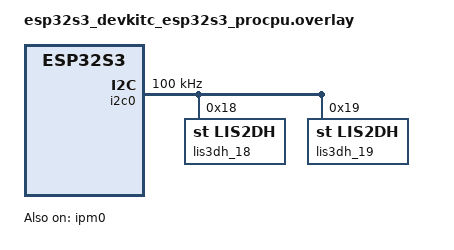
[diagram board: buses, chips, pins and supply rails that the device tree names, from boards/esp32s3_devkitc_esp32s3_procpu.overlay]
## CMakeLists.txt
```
cmake_minimum_required(VERSION 3.20.0)

find_package(Zephyr REQUIRED HINTS $ENV{ZEPHYR_BASE})
project(hw664_lis3dh_procpu)

target_sources(app PRIVATE
	src/main.c
	src/sensor_hub.c
)
```

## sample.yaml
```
sample:
  name: HW-664 (actually LIS3DH) dual-core (IPM, threshold+heartbeat) with SSD1306 on core1
  description: >
    core0 (procpu) reads the accelerometer's 3-axis acceleration every
    100 ms in one thread over I2C0, using Zephyr's standard sensor API
    (the board's WHO_AM_I confirmed this HW-664 module actually carries
    an ST LIS3DH, not the LIS3DSH its listing claims - Zephyr supports
    LIS3DH via the LIS2DH driver family). It pushes an IPM message to
    core1 immediately whenever the accel vector magnitude moves past a
    threshold since the last value actually sent (>=0.15g), plus a 1 s
    heartbeat so the link never looks stale while the board is still.
    core1 owns I2C1 and an SSD1306 128x64 OLED exclusively, displays all
    3 axes plus link health, redraws from an event-driven display
    thread woken by the IPM callback, and declares the link down after
    2 s without a message. Built with --sysbuild.
tests:
  sample.sensor.hw664_lis3dh_dualcore:
    build_only: true
    sysbuild: true
    platform_allow: esp32s3_devkitc/esp32s3/procpu
    tags: sensor display i2c threads ipm multicore
```

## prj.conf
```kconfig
# 03_HW664_LIS3DH - core0 (procpu) image
#
# CHIP IDENTITY CORRECTION (2026-09-04): confirmed via WHO_AM_I=0x33 on
# real hardware that this board is an ST LIS3DH, not a genuine LIS3DSH.
# Zephyr officially supports LIS3DH via the LIS2DH driver family
# (Kconfig symbol CONFIG_LIS2DH) - so this now uses the standard sensor
# subsystem instead of a hand-rolled raw-I2C driver. NOTE: despite the
# chip being LIS3DH, the devicetree compatible must be "st,lis2dh", not
# the documented-but-non-functional "st,lis3dh" - see the overlay's
# header comment and the troubleshooting doc for why.

CONFIG_I2C=y
CONFIG_GPIO=y

CONFIG_SENSOR=y
CONFIG_LIS2DH=y

# Inter-core mailbox to core1 (appcpu). Symbol confirmed in Lab 01
# against drivers/ipm/Kconfig upstream: it's ESP32_SOFT_IPM, not
# IPM_ESP32.
CONFIG_IPM=y
CONFIG_ESP32_SOFT_IPM=y

CONFIG_LOG=y
CONFIG_LOG_MODE_IMMEDIATE=y

# Accel-to-g conversion and vector magnitude math use floating point;
# ESP32-S3 has a hardware FPU.
CONFIG_FPU=y
```

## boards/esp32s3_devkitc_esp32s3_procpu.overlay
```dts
/*
 * Overlay for 03_HW664_LIS3DH - core0 (procpu) image
 *
 * CHIP IDENTITY CORRECTION (2026-09-04): the HW-664 module's silkscreen/
 * listing claims LIS3DSH, but WHO_AM_I read back 0x33 on real hardware,
 * not LIS3DSH's fixed 0x3F - 0x33 is the LIS3DH family's WHO_AM_I value.
 * So this board actually carries an ST LIS3DH (or a register-compatible
 * sibling: LIS2DH/LIS2DH12/LSM303DLHC/LSM303AGR), not a genuine LIS3DSH.
 * Zephyr's LIS2DH driver (drivers/sensor/st/lis2dh/lis2dh.c) officially
 * supports all of these via the "st,lis3dh" compatible, so this lab now
 * uses the standard Zephyr sensor API instead of the hand-rolled raw-I2C
 * driver an earlier revision wrote for the (wrong) LIS3DSH assumption.
 *
 * DEVICETREE COMPATIBLE GOTCHA (2026-09-04): Zephyr documents a
 * separate "st,lis3dh" binding, but the actual lis2dh.c driver (the
 * one that ships in current Zephyr) only instantiates a device for
 * nodes with compatible = "st,lis2dh" - using "st,lis3dh" compiles
 * fine but silently produces `#warning "LIS2DH driver enabled without
 * any devices"` and no device object at all, which shows up at link
 * time as `undefined reference to __device_dts_ord_N`. This is a
 * known, filed Zephyr issue (#31253: "lis3dh driver support is
 * confusing"). So despite the chip being LIS3DH, the compatible
 * string below must be "st,lis2dh".
 *
 * - I2C0 remapped to SDA=GPIO8 / SCL=GPIO9, per this series' I2C0
 *   convention. Owned exclusively by core0 in this dual-core layout.
 * - Address depends on SDO/SA0: confirmed on this specific unit,
 *   unconnected/HIGH -> 0x19, LOW -> 0x18. Both candidate nodes are
 *   declared here (lis3dh_18, lis3dh_19); Zephyr's lis2dh driver reads
 *   WHO_AM_I during init() and fails device_is_ready() for whichever
 *   address has no real hardware behind it - same auto-detect pattern
 *   as Lab 02's MPU6050 dual-node trick.
 * - The SSD1306 OLED is NOT on this bus/core - it lives on I2C1,
 *   owned by core1.
 * - &ipm0 is this image's half of the core0<->core1 mailbox.
 */

#include <dt-bindings/pinctrl/esp32s3-pinctrl.h>
#include <zephyr/dt-bindings/i2c/i2c.h>

&pinctrl {
	i2c0_default: i2c0_default {
		group1 {
			pinmux = <I2C0_SDA_GPIO8>, <I2C0_SCL_GPIO9>;
			bias-pull-up;
			drive-open-drain;
			output-high;
		};
	};
};

&i2c0 {
	status = "okay";
	clock-frequency = <I2C_BITRATE_STANDARD>; /* 100 kHz */

	lis3dh_18: lis3dh@18 {
		compatible = "st,lis2dh"; /* driver quirk - see header comment above */
		reg = <0x18>;
	};

	lis3dh_19: lis3dh@19 {
		compatible = "st,lis2dh"; /* driver quirk - see header comment above */
		reg = <0x19>;
	};
};

&ipm0 {
	status = "okay";
};
```

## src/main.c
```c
/*
 * main.c - 03_HW664_LIS3DH (core0 / procpu image)
 *
 * CHIP IDENTITY CORRECTION (2026-09-04): confirmed via WHO_AM_I=0x33
 * on real hardware that this HW-664 board actually carries an ST
 * LIS3DH (WHO_AM_I 0x3F would have meant a genuine LIS3DSH). Zephyr
 * officially supports LIS3DH via its LIS2DH driver family
 * (compatible "st,lis3dh"), so this revision uses the standard
 * sensor_sample_fetch()/sensor_channel_get() API instead of the
 * hand-rolled raw-I2C driver an earlier revision wrote when this was
 * still believed to be an unsupported LIS3DSH.
 *
 * Architecture (dual-core AMP via IPM, change-triggered + heartbeat)
 * ---------------------------------------------------------------------
 *   [lis3dh_thread] 100ms -> reads accel XYZ
 *                          -> sensor_hub_update(...)
 *                          -> if accel vector magnitude moves >=0.15g
 *                             since the last value actually sent: push now
 *
 *   [heartbeat_thread] 1000ms -> push now, unconditionally
 *
 * Address auto-detect (0x18 vs 0x19)
 * -----------------------------------
 * Confirmed on this unit: SDO/SA0 unconnected/HIGH -> 0x19, LOW ->
 * 0x18. Rather than hardcoding one, the overlay declares both as
 * separate devicetree nodes; the lis2dh driver's init() reads
 * WHO_AM_I and fails (device_is_ready() == false) for whichever
 * address has no real hardware behind it. lis3dh_select(), called
 * from lis3dh_thread_fn's own startup (not from main() - same
 * K_THREAD_DEFINE-vs-main() ordering reasoning as Lab 02), picks
 * whichever candidate actually came up ready.
 *
 * core0 owns I2C0 (LIS3DH). core1 owns I2C1 (SSD1306) - see the
 * design doc for why the two cores never share a peripheral.
 */

#include <zephyr/kernel.h>
#include <zephyr/device.h>
#include <zephyr/drivers/i2c.h>
#include <zephyr/drivers/sensor.h>
#include <zephyr/drivers/ipm.h>
#include <zephyr/logging/log.h>

#include "sensor_hub.h"
#include "ipm_protocol.h"

LOG_MODULE_REGISTER(app_procpu, LOG_LEVEL_INF);

/* Devicetree handles - see boards/esp32s3_devkitc_esp32s3_procpu.overlay.
 * Both candidate addresses are declared there; exactly one of these
 * two will actually initialize successfully.
 */
static const struct device *dev_lis3dh_18 = DEVICE_DT_GET(DT_NODELABEL(lis3dh_18));
static const struct device *dev_lis3dh_19 = DEVICE_DT_GET(DT_NODELABEL(lis3dh_19));
static const struct device *dev_lis3dh; /* selected at boot - see lis3dh_select() */
static const struct device *dev_i2c0    = DEVICE_DT_GET(DT_NODELABEL(i2c0));
static const struct device *dev_ipm     = DEVICE_DT_GET(DT_NODELABEL(ipm0));

#define SENSOR_PERIOD_MS      100
#define HEARTBEAT_PERIOD_MS   1000 /* must stay well under core1's 2 s link timeout */
#define ACCEL_THRESHOLD_G     0.15f

#define STANDARD_GRAVITY_MS2  9.80665f

K_MUTEX_DEFINE(g_send_lock);

static void push_snapshot_to_core1(const char *reason)
{
	struct sensor_snapshot snap;

	sensor_hub_get_snapshot(&snap);

	struct ipm_sensor_payload payload = {
		.accel_x_g = snap.accel_x_g,
		.accel_y_g = snap.accel_y_g,
		.accel_z_g = snap.accel_z_g,
		.valid = snap.valid,
	};

	k_mutex_lock(&g_send_lock, K_FOREVER);
	int ret = ipm_send(dev_ipm, 0, IPM_SENSOR_CHANNEL, &payload, sizeof(payload));
	k_mutex_unlock(&g_send_lock);

	if (ret) {
		LOG_WRN("ipm_send failed (%s): %d", reason, ret);
	} else {
		LOG_DBG("ipm_send ok (%s)", reason);
	}
}

/* Picks whichever candidate address actually has hardware behind it -
 * see the file header comment for why this runs here and not in
 * main().
 */
static const struct device *lis3dh_select(void)
{
	if (device_is_ready(dev_lis3dh_18)) {
		LOG_INF("LIS3DH found at 0x18 (SDO/SA0 low)");
		return dev_lis3dh_18;
	}
	if (device_is_ready(dev_lis3dh_19)) {
		LOG_INF("LIS3DH found at 0x19 (SDO/SA0 high/unconnected)");
		return dev_lis3dh_19;
	}
	LOG_ERR("LIS3DH not found at 0x18 or 0x19 - check wiring");
	return NULL;
}

/* ---------------------------------------------------------------------
 * LIS3DH thread - accel XYZ, every 100 ms
 * ------------------------------------------------------------------- */
static void lis3dh_thread_fn(void *p1, void *p2, void *p3)
{
	ARG_UNUSED(p1);
	ARG_UNUSED(p2);
	ARG_UNUSED(p3);

	dev_lis3dh = lis3dh_select();

	if (dev_lis3dh == NULL) {
		while (1) {
			k_sleep(K_SECONDS(5));
		}
	}

	while (1) {
		struct sensor_value accel[3];
		int ret = sensor_sample_fetch(dev_lis3dh);

		if (ret == 0) {
			ret = sensor_channel_get(dev_lis3dh, SENSOR_CHAN_ACCEL_XYZ, accel);
		}

		if (ret == 0) {
			/* Driver units: accel in m/s^2 (SI), like every
			 * other Zephyr accel driver in this series.
			 */
			float ax_g = (float)(sensor_value_to_double(&accel[0]) / STANDARD_GRAVITY_MS2);
			float ay_g = (float)(sensor_value_to_double(&accel[1]) / STANDARD_GRAVITY_MS2);
			float az_g = (float)(sensor_value_to_double(&accel[2]) / STANDARD_GRAVITY_MS2);

			sensor_hub_update(ax_g, ay_g, az_g, true);

			if (sensor_hub_accel_exceeds_threshold(ax_g, ay_g, az_g,
								ACCEL_THRESHOLD_G)) {
				push_snapshot_to_core1("accel-threshold");
			}
		} else {
			LOG_WRN("LIS3DH read failed: %d", ret);
			sensor_hub_update(0.0f, 0.0f, 0.0f, false);
		}

		k_sleep(K_MSEC(SENSOR_PERIOD_MS));
	}
}

/* ---------------------------------------------------------------------
 * Heartbeat thread - keeps core1's link indicator alive when nothing
 * has crossed a threshold recently
 * ------------------------------------------------------------------- */
static void heartbeat_thread_fn(void *p1, void *p2, void *p3)
{
	ARG_UNUSED(p1);
	ARG_UNUSED(p2);
	ARG_UNUSED(p3);

	while (1) {
		push_snapshot_to_core1("heartbeat");
		k_sleep(K_MSEC(HEARTBEAT_PERIOD_MS));
	}
}

K_THREAD_DEFINE(lis3dh_tid, 1024, lis3dh_thread_fn, NULL, NULL, NULL, 7, 0, 0);
K_THREAD_DEFINE(heartbeat_tid, 1024, heartbeat_thread_fn, NULL, NULL, NULL, 6, 0, 0);

int main(void)
{
	LOG_INF("03_HW664_LIS3DH (core0/procpu) starting");

	if (!device_is_ready(dev_i2c0)) {
		LOG_ERR("I2C0 bus not ready");
		return -1;
	}
	/* LIS3DH presence/address (0x18 vs 0x19) is resolved inside
	 * lis3dh_thread_fn itself, not here - see lis3dh_select().
	 */
	if (!device_is_ready(dev_ipm)) {
		LOG_ERR("IPM device not ready - core1 will never receive sensor data");
	}

	return 0;
}
```

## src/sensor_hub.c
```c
/*
 * sensor_hub.c  (core0 / procpu only)
 */

#include "sensor_hub.h"
#include <math.h>

K_MUTEX_DEFINE(g_data_lock);

struct sensor_snapshot g_snapshot;

static float last_sent_accel_mag_g;
static bool  have_sent_accel;

void sensor_hub_update(float ax, float ay, float az, bool ok)
{
	k_mutex_lock(&g_data_lock, K_FOREVER);

	if (ok) {
		g_snapshot.accel_x_g = ax;
		g_snapshot.accel_y_g = ay;
		g_snapshot.accel_z_g = az;
		g_snapshot.valid = true;
		g_snapshot.fail_count = 0;
	} else {
		g_snapshot.fail_count++;
		if (g_snapshot.fail_count >= 3) {
			g_snapshot.valid = false;
		}
	}

	k_mutex_unlock(&g_data_lock);
}

void sensor_hub_get_snapshot(struct sensor_snapshot *out)
{
	k_mutex_lock(&g_data_lock, K_FOREVER);
	*out = g_snapshot;
	k_mutex_unlock(&g_data_lock);
}

bool sensor_hub_accel_exceeds_threshold(float ax, float ay, float az, float threshold)
{
	bool trigger;
	float mag = sqrtf(ax * ax + ay * ay + az * az);

	k_mutex_lock(&g_data_lock, K_FOREVER);

	trigger = (!have_sent_accel) || (fabsf(mag - last_sent_accel_mag_g) >= threshold);
	if (trigger) {
		last_sent_accel_mag_g = mag;
		have_sent_accel = true;
	}

	k_mutex_unlock(&g_data_lock);

	return trigger;
}
```

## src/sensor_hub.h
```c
/*
 * sensor_hub.h  (core0 / procpu only)
 *
 * Holds the latest LIS3DH reading. Only one thread ever touches I2C0
 * here, so g_data_lock exists purely to make the snapshot struct safe
 * to read from the heartbeat thread while the sensor thread writes to
 * it - same pattern as Lab 02.
 */

#ifndef SENSOR_HUB_H_
#define SENSOR_HUB_H_

#include <zephyr/kernel.h>
#include <stdbool.h>

struct sensor_snapshot {
	float accel_x_g;
	float accel_y_g;
	float accel_z_g;

	bool valid;
	int  fail_count;
};

extern struct k_mutex g_data_lock;
extern struct sensor_snapshot g_snapshot;

/* Called only from the LIS3DH thread, every ~100 ms. */
void sensor_hub_update(float ax, float ay, float az, bool ok);

/* Called from the heartbeat thread (and indirectly by main.c's push
 * helper) to get a consistent point-in-time copy for building the IPM
 * payload.
 */
void sensor_hub_get_snapshot(struct sensor_snapshot *out);

/* Compares the current accel vector magnitude (sqrt(ax^2+ay^2+az^2),
 * in g) against the magnitude that was last actually sent to core1.
 * If they differ by at least `threshold`, records the new magnitude
 * as the baseline and returns true - the caller should push an IPM
 * message right away.
 */
bool sensor_hub_accel_exceeds_threshold(float ax, float ay, float az, float threshold);

#endif /* SENSOR_HUB_H_ */
```
